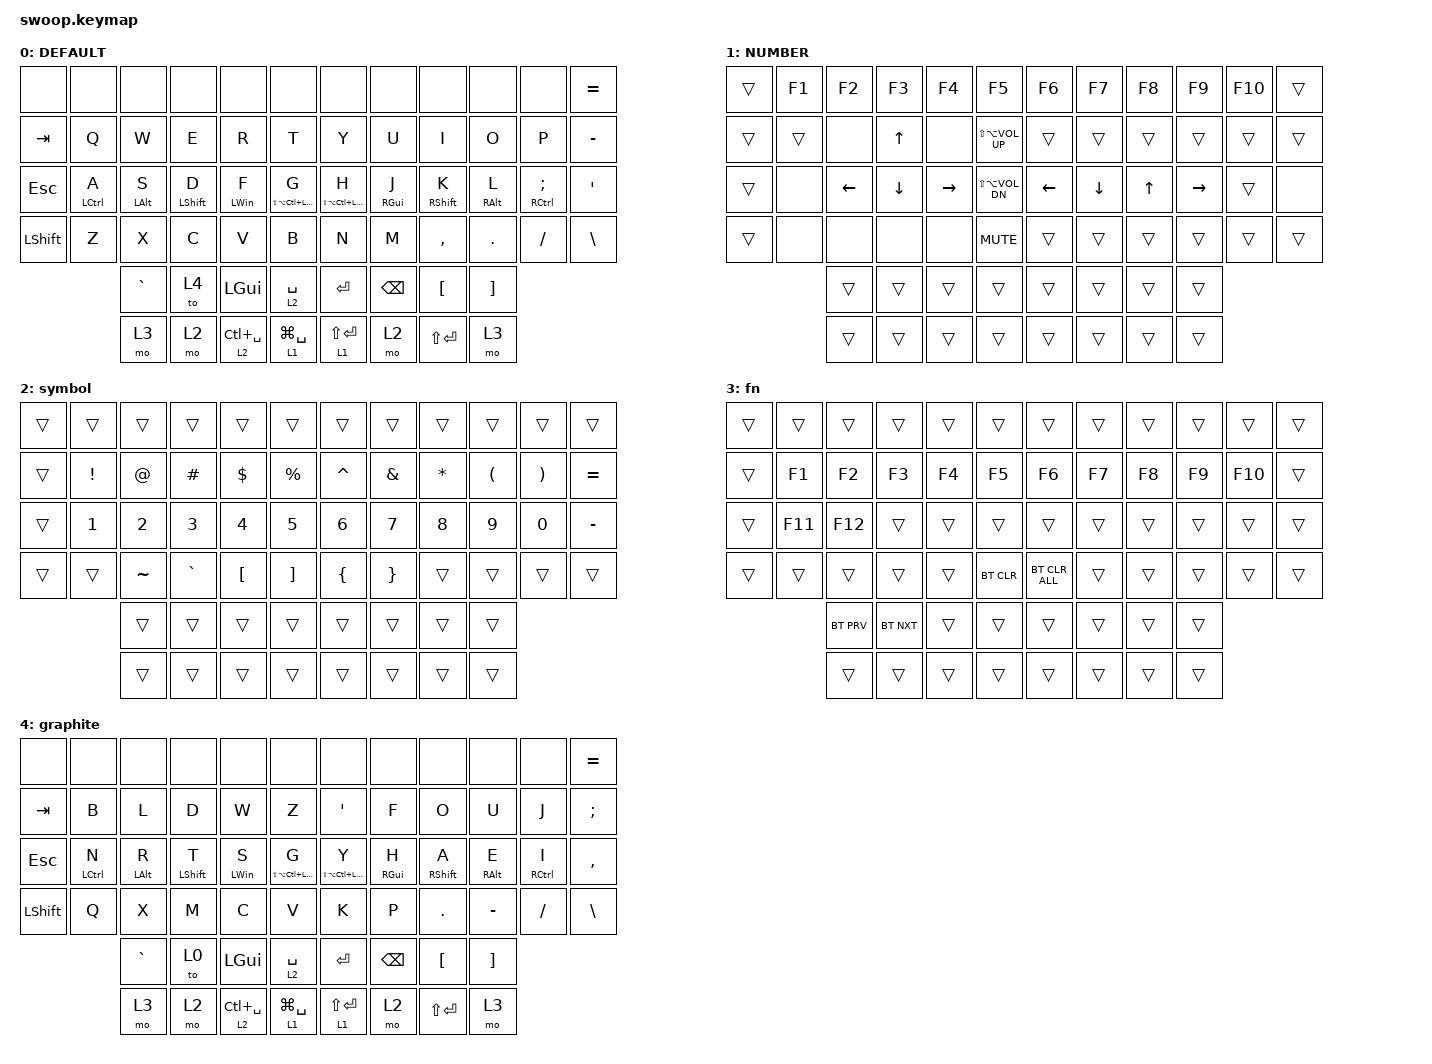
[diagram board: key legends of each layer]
#include <behaviors.dtsi>
#include <dt-bindings/zmk/bt.h>
#include <dt-bindings/zmk/keys.h>

#define DEFAULT 0
#define NUMBER  1
#define SYMBOL  2
#define HOTKEY  3

#define AS(keycode) &as LS(keycode) keycode

&mt { flavor = "tap-preferred"; };

/ {
    behaviors {
        td0: tap_dance_0 {
            compatible = "zmk,behavior-tap-dance";
            label = "TAP_DANCE_0";
            #binding-cells = <0>;
            tapping-term-ms = <200>;
            bindings = <&kp ESC>, <&kp TAB>;
        };
    };

    behaviors {
        as: auto_shift {
            compatible = "zmk,behavior-hold-tap";
            label = "AUTO_SHIFT";
            #binding-cells = <2>;
            tapping-term-ms = <200>;
            quick-tap-ms = <0>;
            flavor = "tap-preferred";
            bindings = <&kp>, <&kp>;
        };

        modcp: mod_copy {
            compatible = "zmk,behavior-mod-morph";
            label = "MOD_COPY";
            #binding-cells = <0>;
            bindings = <&as LS(C) C>, <&kp C>;

            mods = <(LGUI | RGUI)>;
        };
    };

    macros {
        macro_phone: macro_phone {
            // 1351

            label = "MACRO_PHONE";
            compatible = "zmk,behavior-macro";
            #binding-cells = <0>;
            bindings = <&kp N1 &kp N3 &kp N5 &kp N1>;
        };

        macro_email_q: macro_email_q {
            // 2894512440@qq.com

            label = "MACRO_EMAIL_QQ";
            compatible = "zmk,behavior-macro";
            #binding-cells = <0>;
            bindings = <&kp N2 &kp N8 &kp N9 &kp N4 &kp N5 &kp N1 &kp N2 &kp N4 &kp N4 &kp N0 &kp AT &kp Q &kp Q &kp DOT &kp C &kp O &kp M>;
        };

        macro_email_g: macro_email_g {
            // 135115

            compatible = "zmk,behavior-macro";
            label = "MACRO_EMAIL_GMAIL";
            #binding-cells = <0>;
            bindings = <&kp N1 &kp N3 &kp N5 &kp N1 &kp N1 &kp N5>;
        };
    };

    combos {
        compatible = "zmk,combos";

        combo_LSHFT {
            timeout-ms = <50>;
            key-positions = <15 14>;
            bindings = <&kp  LSHFT>;
        };
    };

    keymap {
        compatible = "zmk,keymap";

        default_layer {
            label = "DEFAULT";
            bindings = <
&none           &none        &none           &none             &none            &none                       &none                       &none            &none              &none            &none                   &kp EQUAL
&kp TAB         &kp Q        &kp W           &kp E             &kp R            &kp T                       &kp Y                       &kp U            &kp I              &kp O            &kp P                   &kp MINUS
&kp ESCAPE      &mt LCTRL A  &mt LEFT_ALT S  &mt LEFT_SHIFT D  &mt LEFT_WIN F   &mt LS(LA(LC(LEFT_GUI))) G  &mt LS(LA(LC(LEFT_GUI))) H  &mt RIGHT_GUI J  &mt RIGHT_SHIFT K  &mt RIGHT_ALT L  &mt RIGHT_CONTROL SEMI  &kp SQT
&kp LEFT_SHIFT  &kp Z        &kp X           &kp C             &kp V            &kp B                       &kp N                       &kp M            &kp COMMA          &kp DOT          &kp FSLH                &kp BACKSLASH
                             &kp GRAVE       &to 4             &kp LEFT_GUI     &lt 2 SPACE                 &kp ENTER                   &kp BACKSPACE    &kp LBKT           &kp RBKT
                             &mo 3           &mo 2             &lt 2 LC(SPACE)  &lt 1 LG(SPACE)             &lt 1 LS(RET)               &mo 2            &kp LS(RET)        &mo 3
            >;
        };

        number_layer {
            label = "NUMBER";
            bindings = <
&trans  &kp F1  &kp F2    &kp F3    &kp F4     &kp F5                   &kp F6          &kp F7    &kp F8        &kp F9     &kp F10  &trans
&trans  &trans  &none     &kp UP    &none      &kp LS(LA(C_VOLUME_UP))  &trans          &trans    &trans        &trans     &trans   &trans
&trans  &none   &kp LEFT  &kp DOWN  &kp RIGHT  &kp LS(LA(C_VOL_DN))     &kp LEFT_ARROW  &kp DOWN  &kp UP_ARROW  &kp RIGHT  &trans   &none
&trans  &none   &none     &none     &none      &kp K_MUTE               &trans          &trans    &trans        &trans     &trans   &trans
                &trans    &trans    &trans     &trans                   &trans          &trans    &trans        &trans
                &trans    &trans    &trans     &trans                   &trans          &trans    &trans        &trans
            >;
        };

        symbol {
            bindings = <
&trans  &trans           &trans        &trans        &trans            &trans             &trans          &trans           &trans        &trans                &trans                 &trans
&trans  &kp EXCLAMATION  &kp AT_SIGN   &kp HASH      &kp DOLLAR        &kp PERCENT        &kp CARET       &kp AMPERSAND    &kp ASTERISK  &kp LEFT_PARENTHESIS  &kp RIGHT_PARENTHESIS  &kp EQUAL
&trans  &kp NUMBER_1     &kp NUMBER_2  &kp NUMBER_3  &kp NUMBER_4      &kp N5             &kp NUMBER_6    &kp N7           &kp N8        &kp N9                &kp N0                 &kp MINUS
&trans  &trans           &kp TILDE     &kp GRAVE     &kp LEFT_BRACKET  &kp RIGHT_BRACKET  &kp LEFT_BRACE  &kp RIGHT_BRACE  &trans        &trans                &trans                 &trans
                         &trans        &trans        &trans            &trans             &trans          &trans           &trans        &trans
                         &trans        &trans        &trans            &trans             &trans          &trans           &trans        &trans
            >;
        };

        fn {
            bindings = <
&trans  &trans   &trans      &trans      &trans  &trans      &trans          &trans  &trans  &trans  &trans   &trans
&trans  &kp F1   &kp F2      &kp F3      &kp F4  &kp F5      &kp F6          &kp F7  &kp F8  &kp F9  &kp F10  &trans
&trans  &kp F11  &kp F12     &trans      &trans  &trans      &trans          &trans  &trans  &trans  &trans   &trans
&trans  &trans   &trans      &trans      &trans  &bt BT_CLR  &bt BT_CLR_ALL  &trans  &trans  &trans  &trans   &trans
                 &bt BT_PRV  &bt BT_NXT  &trans  &trans      &trans          &trans  &trans  &trans
                 &trans      &trans      &trans  &trans      &trans          &trans  &trans  &trans
            >;
        };

        layer_4 {
            label = "graphite";
            bindings = <
&none           &none        &none           &none             &none            &none                       &none                       &none            &none              &none            &none                &kp EQUAL
&kp TAB         &kp B        &kp L           &kp D             &kp W            &kp Z                       &kp SINGLE_QUOTE            &kp F            &kp O              &kp U            &kp J                &kp SEMI
&kp ESCAPE      &mt LCTRL N  &mt LEFT_ALT R  &mt LEFT_SHIFT T  &mt LEFT_WIN S   &mt LS(LA(LC(LEFT_GUI))) G  &mt LS(LA(LC(LEFT_GUI))) Y  &mt RIGHT_GUI H  &mt RIGHT_SHIFT A  &mt RIGHT_ALT E  &mt RIGHT_CONTROL I  &kp COMMA
&kp LEFT_SHIFT  &kp Q        &kp X           &kp M             &kp C            &kp V                       &kp K                       &kp P            &kp DOT            &kp MINUS        &kp FSLH             &kp BACKSLASH
                             &kp GRAVE       &to 0             &kp LEFT_GUI     &lt 2 SPACE                 &kp ENTER                   &kp BACKSPACE    &kp LBKT           &kp RBKT
                             &mo 3           &mo 2             &lt 2 LC(SPACE)  &lt 1 LG(SPACE)             &lt 1 LS(RET)               &mo 2            &kp LS(RET)        &mo 3
            >;
        };
    };
};
